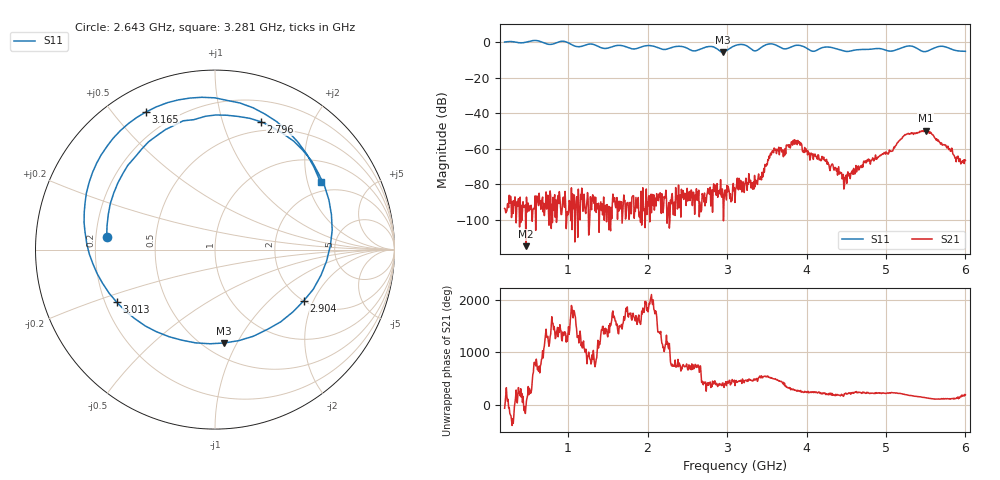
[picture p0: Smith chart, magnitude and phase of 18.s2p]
! NanoVNA-App by OneOfEleven et al v1.1.209 (+OD15)
! Date: 2024-07-30 15:18:21
! Start: 200MHz Stop: 6GHz Points: 801
! S-Parameter data: F S11 S21 S12 S22
# Hz S RI R 50
!  Frequency  S11_Real  S11_Imag  S21_Real  S21_Imag  S12_Real  S12_Imag  S22_Real  S22_Imag
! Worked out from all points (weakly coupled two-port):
!   801 points, 200 MHz to 6 GHz, reference 50 ohm
!   highest |S21| = -49.80 dB at 5.5 GHz (marker M1); lowest = -114.9 dB at 468.2 MHz (marker M2)
!   lowest |S11| = -5.6 dB at 2.948 GHz (marker M3), VSWR 3.19, Z = 31.1 - j44.5 ohm
!   |S11| at or under -10 dB: nowhere
!   S12 and S22 are empty: the file has one direction only
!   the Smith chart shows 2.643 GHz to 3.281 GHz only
!   S11 on the Smith chart (normalised r, x): 2.643 GHz: 0.24, +0.05; 2.796 GHz: 0.40, +1.34; 2.904 GHz: 2.00, -1.69; 3.013 GHz: 0.25, -0.24; 3.165 GHz: 0.11, +0.61; 3.281 GHz: 1.66, +2.42
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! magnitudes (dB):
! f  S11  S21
! 200 MHz  0.0  -93.7
! 468.2 MHz  -0.1  -114.9
! 1.171 GHz  -2.3  -82.2
! 2.136 GHz  -3.3  -89.3
! 2.643 GHz  -4.3  -83.4
! 2.796 GHz  -2.4  -92.3
! 2.904 GHz  -4.9  -83.5
! 2.948 GHz  -5.6  -85.9
! 3.013 GHz  -4.1  -81.2
! 3.1 GHz  -2.0  -90.3
! 3.165 GHz  -1.3  -82.9
! 3.281 GHz  -3.1  -77.2
! 3.441 GHz  -2.7  -73.3
! 3.579 GHz  -1.1  -61.7
! 3.84 GHz  -2.2  -57.2
! 4.072 GHz  -5.1  -63.5
! 4.224 GHz  -2.9  -66.5
! 4.478 GHz  -5.1  -81.0
! 5.036 GHz  -5.0  -62.5
! 5.253 GHz  -2.4  -52.1
! 5.5 GHz  -5.3  -49.8
! 6 GHz  -5.2  -66.6
